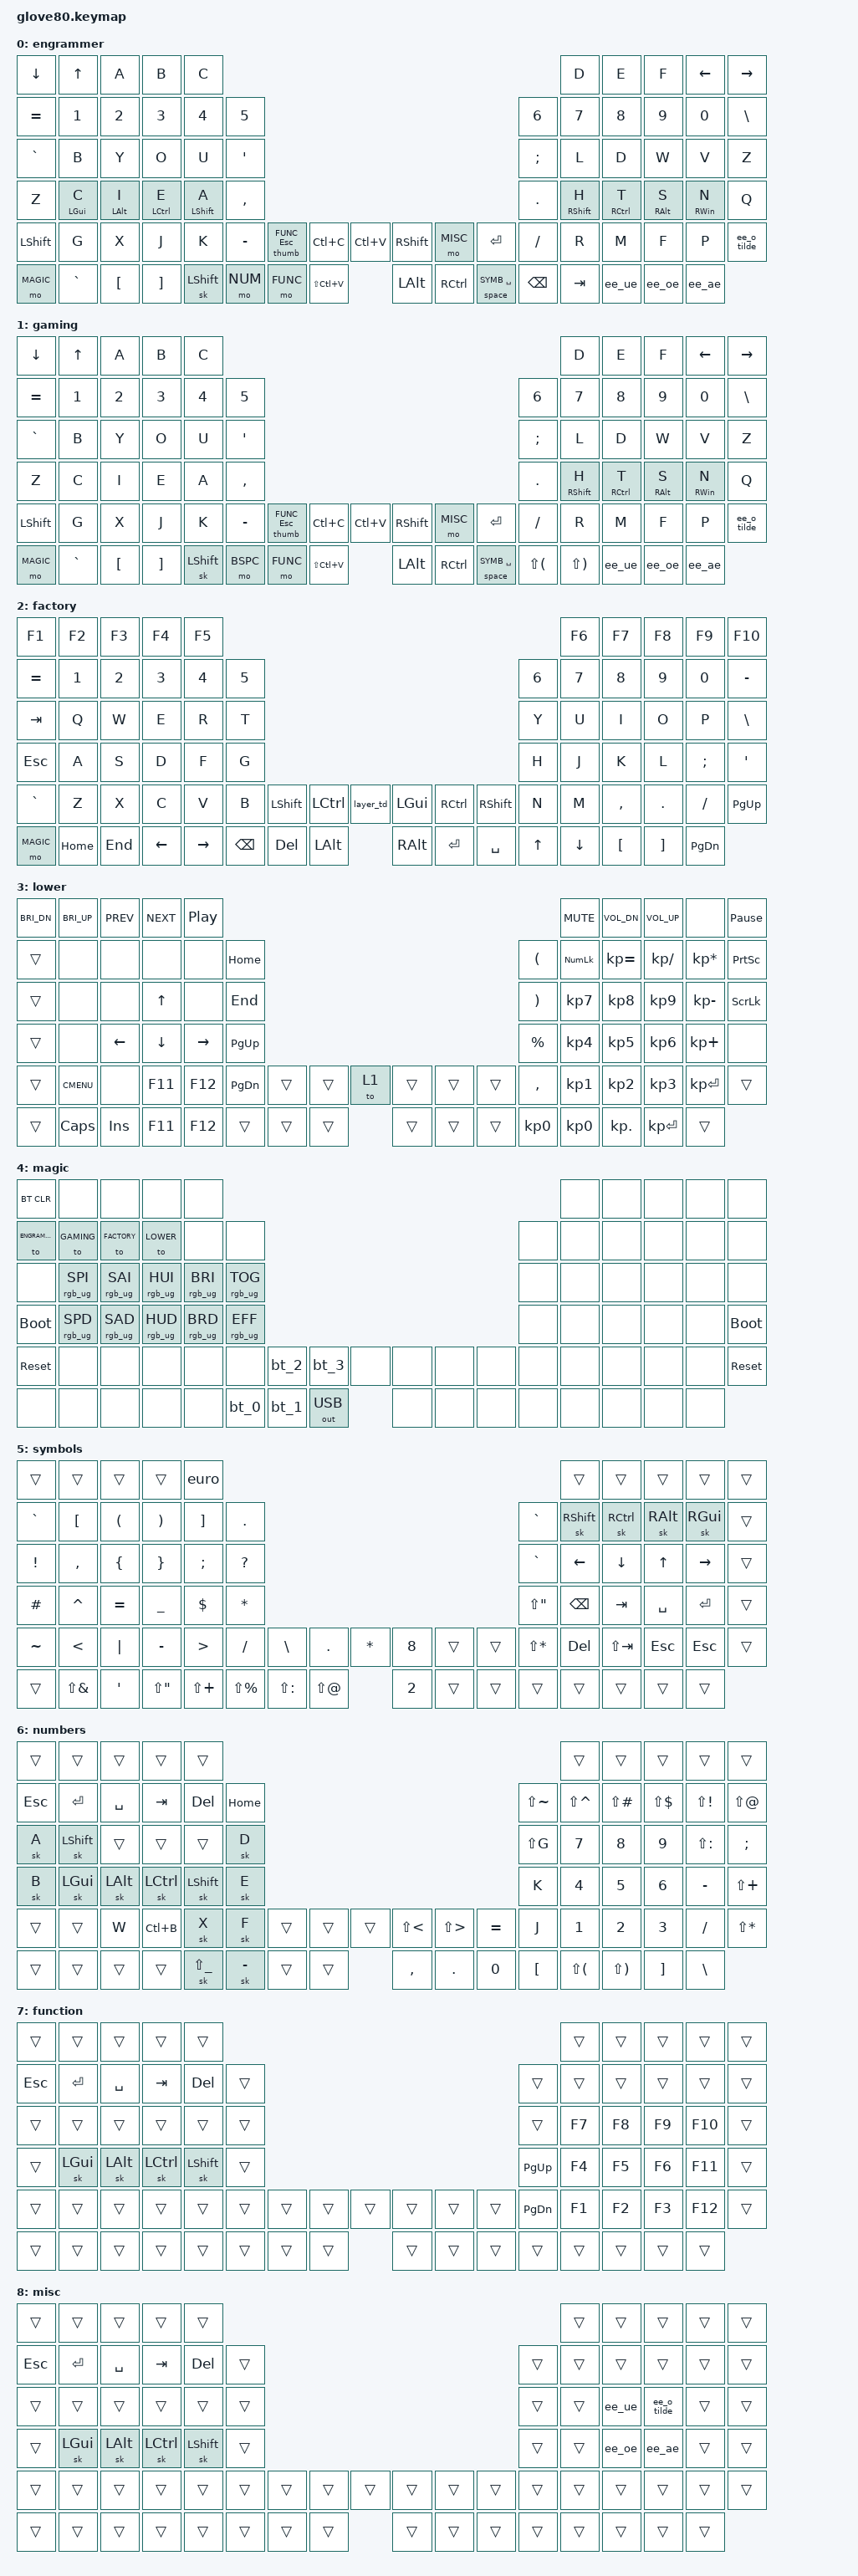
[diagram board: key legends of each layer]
/*
 * Copyright (c) 2020 The ZMK Contributors
 *
 * SPDX-License-Identifier: MIT
 */

#include <behaviors.dtsi>
#include <dt-bindings/zmk/bt.h>
#include <dt-bindings/zmk/keys.h>
#include <dt-bindings/zmk/outputs.h>
#include <dt-bindings/zmk/rgb.h>

#define HOST_OS 1
#include "zmk-helpers/helper.h"

/* Estonian letters */
ZMK_UNICODE_PAIR(   ee_ae,      N0, N0,  E, N4,    N0, N0,  C, N4) // ä/Ä
ZMK_UNICODE_PAIR(   ee_oe,      N0, N0,  F, N6,    N0, N0,  D, N6) // ö/Ö
ZMK_UNICODE_PAIR(   ee_ue,      N0, N0,  F,  C,    N0, N0,  D,  C) // ü/Ü
ZMK_UNICODE_PAIR(   ee_o_tilde, N0, N0,  F,  N5,   N0, N0,  D, N5) // õ/Õ
ZMK_UNICODE_SINGLE(euro, N2, N0, A, C)  // €  U+20AC

#define ___ &trans
#define XXX &none

// layers
#define ENGRAMMER 0
#define GAMING 1
#define FACTORY 2
#define LOWER 3
#define MAGIC 4
#define SYMB 5
#define NUM 6
#define FUNC 7
#define MISC 8


// For the "layer" key, it'd nice to be able to use it as either a shift or a toggle.
// Configure it as a tap dance, so the first tap (or hold) is a &mo and the second tap is a &to
// 
#define TAPPING_RESOLUTION 200 

//
// SPACE_HOLDING_TIME defines how long you need to hold (milliseconds)
// the space thumb key to activate.  Shorter holds are treated as taps.
//
//
#define SPACE_HOLDING_TIME (TAPPING_RESOLUTION + 20)

//
// SPACE_REPEAT_DECAY defines how much time you have left (milliseconds)
// after tapping a key to hold it again in order to make it auto-repeat.
//
#define SPACE_REPEAT_DECAY TAPPING_RESOLUTION

//
// THUMB_HOLDING_TIME defines how long you need to hold (milliseconds)
// a thumb key to activate a layer.  Shorter holds are treated as taps.
//
#define THUMB_HOLDING_TIME (TAPPING_RESOLUTION + 50)

//
// THUMB_REPEAT_DECAY defines how much time you have left (milliseconds)
// after tapping a key to hold it again in order to make it auto-repeat.
//
#define THUMB_REPEAT_DECAY (TAPPING_RESOLUTION + 150)

ZMK_HOLD_TAP(hml,
    hold-trigger-key-positions = <16 6 18 6 7 18 19 30 31 42 43 60 61 5 16 17 28 29 40 41 55 56 57 58 59 72 73 74 75 8 9 18 19 20 21 30 31 32 33 42 43 44 45 60 61 62 63 76 77 78 79 52 53 54 70 71 69>;
    bindings = <&kp>, <&kp>;
    tapping-term-ms = <280>;
    quick-tap-ms = <175>;
    require-prior-idle-ms = <150>;
    flavor = "balanced";
    hold-trigger-on-release;
    retro-tap;
  )

ZMK_HOLD_TAP(hmr,
    hold-trigger-key-positions = <0 1 2 3 4 12 13 14 15 0 1 2 3 4 10 11 12 13 14 15 22 23 24 25 26 27 34 35 36 37 38 39 46 47 48 49 50 51 52 53 54 64 65 66 67 68 69 70 71 55 56 57 72 73 74>;
    bindings = <&kp>, <&kp>;
    tapping-term-ms = <280>;
    quick-tap-ms = <175>;
    require-prior-idle-ms = <150>;
    flavor = "balanced";
    hold-trigger-on-release;
    retro-tap;
  )

  ZMK_TAP_DANCE(layer_td,
    tapping-term-ms = <200>;
    bindings = <&mo 2>, <&to 2>;
  )

  ZMK_HOLD_TAP(thumb,
    flavor = "balanced";
    tapping-term-ms = <THUMB_HOLDING_TIME>;
    require-prior-idle-ms = <150>;
    bindings = <&mo>, <&kp>;
    retro-tap;
  )

  ZMK_HOLD_TAP(space,
    flavor = "hold-preferred";
    tapping-term-ms = <THUMB_HOLDING_TIME>;
    bindings = <&mo>, <&kp>;
  )
  ZMK_MACRO(bt_0,
      bindings = <&out OUT_BLE &bt BT_SEL 0>;
  )

  ZMK_MACRO(bt_1,
      bindings = <&out OUT_BLE &bt BT_SEL 1>;
  )

  ZMK_MACRO(bt_2,
      bindings = <&out OUT_BLE &bt BT_SEL 2>;
  )

  ZMK_MACRO(bt_3,
      bindings = <&out OUT_BLE &bt BT_SEL 3>;
  )


ZMK_LAYER(engrammer,
// ╭─────────────┬─────────────┬─────────────┬─────────────┬─────────────┬─────────────╮                                                                                             ╭─────────────┬─────────────┬─────────────┬─────────────┬─────────────┬─────────────╮
     &kp DOWN_ARROW &kp UP_ARROW &kp A           &kp B         &kp C                                                                                                                                   &kp D         &kp E         &kp F      &kp LEFT_ARROW &kp RIGHT_ARROW
// ├─────────────┼─────────────┼─────────────┼─────────────┼─────────────┼─────────────┤                                                                                             ├─────────────┼─────────────┼─────────────┼─────────────┼─────────────┼─────────────┤
     &kp EQUAL       &kp N1        &kp N2        &kp N3        &kp N4        &kp N5                                                                                                      &kp N6        &kp N7        &kp N8        &kp N9        &kp N0        &kp BSLH
// ├─────────────┼─────────────┼─────────────┼─────────────┼─────────────┼─────────────┤                                                                                             ├─────────────┼─────────────┼─────────────┼─────────────┼─────────────┼─────────────┤
     &kp GRAVE       &kp B         &kp Y         &kp O         &kp U         &kp SQT                                                                                                     &kp SEMI      &kp L         &kp D         &kp W         &kp V         &kp Z
// ├─────────────┼─────────────┼─────────────┼─────────────┼─────────────┼─────────────┤                                                                                             ├─────────────┼─────────────┼────────────┼─────────────┼─────────────┼─────────────┤
     &kp Z           &hml LGUI C &hml LALT I     &hml LCTRL E &hml LSHFT A &kp COMMA                                                                                                     &kp DOT       &hmr RSHFT H &hmr RCTRL T &hmr RALT S     &hmr RWIN N &kp Q
// ├─────────────┼─────────────┼─────────────┼─────────────┼─────────────┼─────────────┤ ╭─────────────┬──────────────┬──────────────╮ ╭─────────────┬──────────────┬──────────────╮ ├─────────────┼─────────────┼─────────────┼─────────────┼─────────────┼─────────────┤
     &kp LSHFT       &kp G         &kp X         &kp J         &kp K         &kp MINUS    &thumb FUNC ESC &kp LC(C)       &kp LC(V)      &kp RSHIFT     &mo MISC       &kp ENTER        &kp FSLH      &kp R         &kp M         &kp F         &kp P         &ee_o_tilde
// ├─────────────┼─────────────┼─────────────┼─────────────┼─────────────┼─────────────┤ ├─────────────┼──────────────┼──────────────┤ ├─────────────┼──────────────┼──────────────┤ ├─────────────┼─────────────┼─────────────┼─────────────┼─────────────┼─────────────┤
     &mo MAGIC       &kp GRAVE     &kp LBKT      &kp RBKT      &sk LSHFT                  &mo NUM         &mo FUNC        &kp LS(LC(V))  &kp LALT       &kp RCTRL    &space SYMB SPACE   &kp BSPC      &kp TAB       &ee_ue        &ee_oe       &ee_ae
// ╰─────────────┴─────────────┴─────────────┴─────────────┴─────────────┴─────────────╯ ╰─────────────┴──────────────┴──────────────╯ ╰─────────────┴──────────────┴──────────────╯ ╰─────────────┴─────────────┴─────────────┴─────────────┴─────────────┴─────────────╯
)

ZMK_LAYER(gaming,
// ╭─────────────┬─────────────┬─────────────┬─────────────┬─────────────┬─────────────╮                                                                                             ╭─────────────┬─────────────┬─────────────┬─────────────┬─────────────┬─────────────╮
     &kp DOWN_ARROW &kp UP_ARROW &kp A           &kp B         &kp C                                                                                                                                   &kp D         &kp E         &kp F      &kp LEFT_ARROW &kp RIGHT_ARROW
// ├─────────────┼─────────────┼─────────────┼─────────────┼─────────────┼─────────────┤                                                                                             ├─────────────┼─────────────┼─────────────┼─────────────┼─────────────┼─────────────┤
     &kp EQUAL       &kp N1        &kp N2        &kp N3        &kp N4        &kp N5                                                                                                      &kp N6        &kp N7        &kp N8        &kp N9        &kp N0        &kp BSLH
// ├─────────────┼─────────────┼─────────────┼─────────────┼─────────────┼─────────────┤                                                                                             ├─────────────┼─────────────┼─────────────┼─────────────┼─────────────┼─────────────┤
     &kp GRAVE       &kp B         &kp Y         &kp O         &kp U         &kp SQT                                                                                                     &kp SEMI      &kp L         &kp D         &kp W         &kp V         &kp Z
// ├─────────────┼─────────────┼─────────────┼─────────────┼─────────────┼─────────────┤                                                                                             ├─────────────┼─────────────┼────────────┼─────────────┼─────────────┼─────────────┤
     &kp Z           &kp C         &kp I         &kp E         &kp A         &kp COMMA                                                                                                   &kp DOT       &hmr RSHFT H &hmr RCTRL T &hmr RALT S     &hmr RWIN N &kp Q
// ├─────────────┼─────────────┼─────────────┼─────────────┼─────────────┼─────────────┤ ╭─────────────┬──────────────┬──────────────╮ ╭─────────────┬──────────────┬──────────────╮ ├─────────────┼─────────────┼─────────────┼─────────────┼─────────────┼─────────────┤
     &kp LSHFT       &kp G         &kp X         &kp J         &kp K         &kp MINUS    &thumb FUNC ESC &kp LC(C)       &kp LC(V)      &kp RSHIFT     &mo MISC       &kp ENTER        &kp FSLH      &kp R         &kp M         &kp F         &kp P         &ee_o_tilde
// ├─────────────┼─────────────┼─────────────┼─────────────┼─────────────┼─────────────┤ ├─────────────┼──────────────┼──────────────┤ ├─────────────┼──────────────┼──────────────┤ ├─────────────┼─────────────┼─────────────┼─────────────┼─────────────┼─────────────┤
     &mo MAGIC       &kp GRAVE     &kp LBKT      &kp RBKT      &sk LSHFT                  &mo BSPC        &mo FUNC      &kp LS(LC(V))    &kp LALT       &kp RCTRL      &space SYMB SPACE              &kp LS(LPAR) &kp LS(RPAR) &ee_ue          &ee_oe        &ee_ae
// ╰─────────────┴─────────────┴─────────────┴─────────────┴─────────────┴─────────────╯ ╰─────────────┴──────────────┴──────────────╯ ╰─────────────┴──────────────┴──────────────╯ ╰─────────────┴─────────────┴─────────────┴─────────────┴─────────────┴─────────────╯
)

// -------------------------------------------------------------------------------------------------------------------------------
// |  F1   |  F2 |  F3 |  F4  |  F5  |                                                               |  F6   |  F7   |  F8  |   F9  |  F10 |
// |  =    |  1  |  2  |  3   |  4   |  5   |                                                 |  6   |   7   |   8   |  9   |   0   |   -  |
// |  TAB  |  Q  |  W  |  E   |  R   |  T   |                                                 |  Y   |   U   |   I   |  O   |   P   |   \  |
// |  ESC  |  A  |  S  |  D   |  F   |  G   |                                                 |  H   |   J   |   K   |  L   |   ;   |   '  |
// |   `   |  Z  |  X  |  C   |  V   |  B   | LSHFT | LCTRL | LOWER | | LGUI  | RCTRL | RSHFT |  N   |   M   |   ,   |  .   |   /   | PGUP |
// | MAGIC | HOME| END | LEFT | RIGHT|      | BSPC  | DEL   | LALT  | | RALT  | RET   | SPACE |      |  UP   | DOWN  |  [   |   ]   | PGDN |
ZMK_LAYER(factory,
// ╭─────────────┬─────────────┬─────────────┬─────────────┬─────────────┬─────────────╮                                                                                             ╭─────────────┬─────────────┬─────────────┬─────────────┬─────────────┬─────────────╮
     &kp F1          &kp F2        &kp F3        &kp F4        &kp F5                                                                                                                                  &kp F6        &kp F7        &kp F8        &kp F9        &kp F10
// ├─────────────┼─────────────┼─────────────┼─────────────┼─────────────┼─────────────┤                                                                                             ├─────────────┼─────────────┼─────────────┼─────────────┼─────────────┼─────────────┤
     &kp EQUAL       &kp N1        &kp N2        &kp N3        &kp N4        &kp N5                                                                                                      &kp N6        &kp N7        &kp N8        &kp N9        &kp N0        &kp MINUS
// ├─────────────┼─────────────┼─────────────┼─────────────┼─────────────┼─────────────┤                                                                                             ├─────────────┼─────────────┼─────────────┼─────────────┼─────────────┼─────────────┤
     &kp TAB         &kp Q         &kp W         &kp E         &kp R         &kp T                                                                                                       &kp Y         &kp U         &kp I         &kp O         &kp P         &kp BSLH
// ├─────────────┼─────────────┼─────────────┼─────────────┼─────────────┼─────────────┤                                                                                             ├─────────────┼─────────────┼─────────────┼─────────────┼─────────────┼─────────────┤
     &kp ESC         &kp A         &kp S         &kp D         &kp F         &kp G                                                                                                       &kp H         &kp J         &kp K         &kp L         &kp SEMI      &kp SQT
// ├─────────────┼─────────────┼─────────────┼─────────────┼─────────────┼─────────────┤ ╭─────────────┬──────────────┬──────────────╮ ╭─────────────┬──────────────┬──────────────╮ ├─────────────┼─────────────┼─────────────┼─────────────┼─────────────┼─────────────┤
     &kp GRAVE       &kp Z         &kp X         &kp C         &kp V         &kp B           &kp LSHFT     &kp LCTRL      &layer_td        &kp LGUI      &kp RCTRL      &kp RSHFT        &kp N         &kp M         &kp COMMA     &kp DOT       &kp FSLH      &kp PG_UP
// ├─────────────┼─────────────┼─────────────┼─────────────┼─────────────┼─────────────┤ ├─────────────┼──────────────┼──────────────┤ ├─────────────┼──────────────┼──────────────┤ ├─────────────┼─────────────┼─────────────┼─────────────┼─────────────┼─────────────┤
     &mo MAGIC       &kp HOME      &kp END       &kp LEFT      &kp RIGHT                     &kp BSPC      &kp DEL        &kp LALT         &kp RALT      &kp RET        &kp SPACE                      &kp UP        &kp DOWN      &kp LBKT      &kp RBKT      &kp PG_DN
// ╰─────────────┴─────────────┴─────────────┴─────────────┴─────────────┴─────────────╯ ╰─────────────┴──────────────┴──────────────╯ ╰─────────────┴──────────────┴──────────────╯ ╰─────────────┴─────────────┴─────────────┴─────────────┴─────────────┴─────────────╯
)

ZMK_LAYER(lower,
// ╭─────────────┬─────────────┬─────────────┬─────────────┬─────────────┬─────────────╮                                                                                             ╭─────────────┬─────────────┬─────────────┬─────────────┬─────────────┬─────────────╮
     &kp C_BRI_DN    &kp C_BRI_UP &kp C_PREV     &kp C_NEXT    &kp C_PP                                                                                                                                &kp C_MUTE    &kp C_VOL_DN &kp C_VOL_UP &none        &kp PAUSE_BREAK
// ├─────────────┼─────────────┼─────────────┼─────────────┼─────────────┼─────────────┤                                                                                             ├─────────────┼─────────────┼─────────────┼─────────────┼─────────────┼─────────────┤
     &trans          &none         &none         &none         &none         &kp HOME                                                                                                    &kp LPAR      &kp KP_NUM    &kp KP_EQUAL &kp KP_DIVIDE &kp KP_MULTIPLY &kp PSCRN
// ├─────────────┼─────────────┼─────────────┼─────────────┼─────────────┼─────────────┤                                                                                             ├─────────────┼─────────────┼─────────────┼─────────────┼─────────────┼─────────────┤
     &trans          &none         &none         &kp UP        &none         &kp END                                                                                                     &kp RPAR      &kp KP_N7     &kp KP_N8     &kp KP_N9     &kp KP_MINUS &kp SLCK
// ├─────────────┼─────────────┼─────────────┼─────────────┼─────────────┼─────────────┤                                                                                             ├─────────────┼─────────────┼─────────────┼─────────────┼─────────────┼─────────────┤
     &trans          &none         &kp LEFT      &kp DOWN      &kp RIGHT     &kp PG_UP                                                                                                   &kp PRCNT     &kp KP_N4     &kp KP_N5     &kp KP_N6     &kp KP_PLUS &none
// ├─────────────┼─────────────┼─────────────┼─────────────┼─────────────┼─────────────┤ ╭─────────────┬──────────────┬──────────────╮ ╭─────────────┬──────────────┬──────────────╮ ├─────────────┼─────────────┼─────────────┼─────────────┼─────────────┼─────────────┤
     &trans          &kp K_CMENU &none           &kp F11       &kp F12       &kp PG_DN       &trans        &trans         &to 1            &trans        &trans         &trans           &kp COMMA     &kp KP_N1     &kp KP_N2     &kp KP_N3     &kp KP_ENTER &trans
// ├─────────────┼─────────────┼─────────────┼─────────────┼─────────────┼─────────────┤ ├─────────────┼──────────────┼──────────────┤ ├─────────────┼──────────────┼──────────────┤ ├─────────────┼─────────────┼─────────────┼─────────────┼─────────────┼─────────────┤
     &trans          &kp CAPS      &kp INS       &kp F11       &kp F12                       &trans        &trans         &trans           &trans        &trans         &trans                         &kp KP_N0     &kp KP_N0     &kp KP_DOT    &kp KP_ENTER &trans
// ╰─────────────┴─────────────┴─────────────┴─────────────┴─────────────┴─────────────╯ ╰─────────────┴──────────────┴──────────────╯ ╰─────────────┴──────────────┴──────────────╯ ╰─────────────┴─────────────┴─────────────┴─────────────┴─────────────┴─────────────╯
)

ZMK_LAYER(magic,
// ╭─────────────┬─────────────┬─────────────┬─────────────┬─────────────┬─────────────╮                                                                                             ╭─────────────┬─────────────┬─────────────┬─────────────┬─────────────┬─────────────╮
     &bt BT_CLR      &none         &none         &none         &none                                                                                                                                   &none         &none         &none         &none         &none
// ├─────────────┼─────────────┼─────────────┼─────────────┼─────────────┼─────────────┤                                                                                             ├─────────────┼─────────────┼─────────────┼─────────────┼─────────────┼─────────────┤
     &to ENGRAMMER   &to GAMING    &to FACTORY   &to LOWER     &none         &none                                                                                                       &none         &none         &none         &none         &none         &none
// ├─────────────┼─────────────┼─────────────┼─────────────┼─────────────┼─────────────┤                                                                                             ├─────────────┼─────────────┼─────────────┼─────────────┼─────────────┼─────────────┤
     &none        &rgb_ug RGB_SPI &rgb_ug RGB_SAI &rgb_ug RGB_HUI &rgb_ug RGB_BRI &rgb_ug RGB_TOG                                                                                        &none         &none         &none         &none         &none         &none
// ├─────────────┼─────────────┼─────────────┼─────────────┼─────────────┼─────────────┤                                                                                             ├─────────────┼─────────────┼─────────────┼─────────────┼─────────────┼─────────────┤
     &bootloader  &rgb_ug RGB_SPD &rgb_ug RGB_SAD &rgb_ug RGB_HUD &rgb_ug RGB_BRD &rgb_ug RGB_EFF                                                                                        &none         &none         &none         &none         &none         &bootloader
// ├─────────────┼─────────────┼─────────────┼─────────────┼─────────────┼─────────────┤ ╭─────────────┬──────────────┬──────────────╮ ╭─────────────┬──────────────┬──────────────╮ ├─────────────┼─────────────┼─────────────┼─────────────┼─────────────┼─────────────┤
     &sys_reset      &none         &none         &none         &none         &none           &bt_2         &bt_3          &none            &none         &none          &none            &none         &none         &none         &none         &none         &sys_reset
// ├─────────────┼─────────────┼─────────────┼─────────────┼─────────────┼─────────────┤ ├─────────────┼──────────────┼──────────────┤ ├─────────────┼──────────────┼──────────────┤ ├─────────────┼─────────────┼─────────────┼─────────────┼─────────────┼─────────────┤
     &none           &none         &none         &none         &none                         &bt_0         &bt_1          &out OUT_USB     &none         &none          &none                          &none         &none         &none         &none         &none
// ╰─────────────┴─────────────┴─────────────┴─────────────┴─────────────┴─────────────╯ ╰─────────────┴──────────────┴──────────────╯ ╰─────────────┴──────────────┴──────────────╯ ╰─────────────┴─────────────┴─────────────┴─────────────┴─────────────┴─────────────╯
)

ZMK_LAYER(symbols,
// ╭─────────────┬─────────────┬─────────────┬─────────────┬─────────────┬─────────────╮                                                                                             ╭─────────────┬─────────────┬─────────────┬─────────────┬─────────────┬─────────────╮
     &trans          &trans        &trans        &trans        &euro                                                                                                                                   &trans        &trans        &trans        &trans        &trans
// ├─────────────┼─────────────┼─────────────┼─────────────┼─────────────┼─────────────┤                                                                                             ├─────────────┼─────────────┼─────────────┼─────────────┼─────────────┼─────────────┤
     &kp GRAVE       &kp LBKT      &kp LPAR      &kp RPAR      &kp RBKT      &kp DOT                                                                                                     &kp GRAVE     &sk RSHFT     &sk RCTRL     &sk RALT      &sk RGUI      &trans
// ├─────────────┼─────────────┼─────────────┼─────────────┼─────────────┼─────────────┤                                                                                             ├─────────────┼─────────────┼─────────────┼─────────────┼─────────────┼─────────────┤
     &kp EXCL        &kp COMMA     &kp LBRC      &kp RBRC      &kp SEMI      &kp QMARK                                                                                                   &kp GRAVE     &kp LEFT      &kp DOWN      &kp UP        &kp RIGHT     &trans
// ├─────────────┼─────────────┼─────────────┼─────────────┼─────────────┼─────────────┤                                                                                             ├─────────────┼─────────────┼─────────────┼─────────────┼─────────────┼─────────────┤
     &kp HASH        &kp CARET     &kp EQUAL     &kp UNDER     &kp DLLR      &kp STAR                                                                                                    &kp LS(DQT) &kp BSPC        &kp TAB       &kp SPACE     &kp RET       &trans
// ├─────────────┼─────────────┼─────────────┼─────────────┼─────────────┼─────────────┤ ╭─────────────┬──────────────┬──────────────╮ ╭─────────────┬──────────────┬──────────────╮ ├─────────────┼─────────────┼─────────────┼─────────────┼─────────────┼─────────────┤
     &kp TILDE       &kp LT        &kp PIPE      &kp MINUS     &kp GT        &kp FSLH        &kp BSLH      &kp DOT        &kp STAR         &kp N8        &trans         &trans           &kp LS(STAR) &kp DEL        &kp LS(TAB) &kp ESC         &kp ESC       &trans
// ├─────────────┼─────────────┼─────────────┼─────────────┼─────────────┼─────────────┤ ├─────────────┼──────────────┼──────────────┤ ├─────────────┼──────────────┼──────────────┤ ├─────────────┼─────────────┼─────────────┼─────────────┼─────────────┼─────────────┤
     &trans          &kp LS(AMPS) &kp SQT        &kp LS(DQT) &kp LS(PLUS)                    &kp LS(PRCNT) &kp LS(COLON) &kp LS(AT)        &kp N2        &trans         &trans                         &trans        &trans        &trans        &trans        &trans
// ╰─────────────┴─────────────┴─────────────┴─────────────┴─────────────┴─────────────╯ ╰─────────────┴──────────────┴──────────────╯ ╰─────────────┴──────────────┴──────────────╯ ╰─────────────┴─────────────┴─────────────┴─────────────┴─────────────┴─────────────╯
)

ZMK_LAYER(numbers,
// ╭─────────────┬─────────────┬─────────────┬─────────────┬─────────────┬─────────────╮                                                                                             ╭─────────────┬─────────────┬─────────────┬─────────────┬─────────────┬─────────────╮
     &trans          &trans        &trans        &trans        &trans                                                                                                                                  &trans        &trans        &trans        &trans        &trans
// ├─────────────┼─────────────┼─────────────┼─────────────┼─────────────┼─────────────┤                                                                                             ├─────────────┼─────────────┼─────────────┼─────────────┼─────────────┼─────────────┤
     &kp ESC         &kp RET       &kp SPACE     &kp TAB       &kp DEL       &kp HOME                                                                                                    &kp LS(TILDE) &kp LS(CARET) &kp LS(POUND) &kp LS(DLLR) &kp LS(EXCL) &kp LS(AT)
// ├─────────────┼─────────────┼─────────────┼─────────────┼─────────────┼─────────────┤                                                                                             ├─────────────┼─────────────┼─────────────┼─────────────┼─────────────┼─────────────┤
     &sk A           &sk LSHFT     &trans        &trans        &trans        &sk D                                                                                                       &kp LS(G)     &kp N7        &kp N8        &kp N9        &kp LS(COLON) &kp SEMI
// ├─────────────┼─────────────┼─────────────┼─────────────┼─────────────┼─────────────┤                                                                                             ├─────────────┼─────────────┼─────────────┼─────────────┼─────────────┼─────────────┤
     &sk B           &sk LGUI      &sk LALT      &sk LCTRL     &sk LSHFT     &sk E                                                                                                       &kp K         &kp N4        &kp N5        &kp N6        &kp MINUS     &kp LS(PLUS)
// ├─────────────┼─────────────┼─────────────┼─────────────┼─────────────┼─────────────┤ ╭─────────────┬──────────────┬──────────────╮ ╭─────────────┬──────────────┬──────────────╮ ├─────────────┼─────────────┼─────────────┼─────────────┼─────────────┼─────────────┤
     &trans          &trans        &kp W         &kp LC(B)     &sk X         &sk F           &trans        &trans         &trans           &kp LS(LT)    &kp LS(GT)     &kp EQUAL        &kp J         &kp N1        &kp N2        &kp N3        &kp FSLH      &kp LS(STAR)
// ├─────────────┼─────────────┼─────────────┼─────────────┼─────────────┼─────────────┤ ├─────────────┼──────────────┼──────────────┤ ├─────────────┼──────────────┼──────────────┤ ├─────────────┼─────────────┼─────────────┼─────────────┼─────────────┼─────────────┤
     &trans          &trans        &trans        &trans        &sk LS(UNDER)                 &sk MINUS     &trans         &trans           &kp COMMA     &kp DOT        &kp N0                         &kp LBKT      &kp LS(LPAR) &kp LS(RPAR) &kp RBKT        &kp BSLH
// ╰─────────────┴─────────────┴─────────────┴─────────────┴─────────────┴─────────────╯ ╰─────────────┴──────────────┴──────────────╯ ╰─────────────┴──────────────┴──────────────╯ ╰─────────────┴─────────────┴─────────────┴─────────────┴─────────────┴─────────────╯
)

ZMK_LAYER(function,
// ╭─────────────┬─────────────┬─────────────┬─────────────┬─────────────┬─────────────╮                                                                                             ╭─────────────┬─────────────┬─────────────┬─────────────┬─────────────┬─────────────╮
     &trans          &trans        &trans        &trans        &trans                                                                                                                                  &trans        &trans        &trans        &trans        &trans
// ├─────────────┼─────────────┼─────────────┼─────────────┼─────────────┼─────────────┤                                                                                             ├─────────────┼─────────────┼─────────────┼─────────────┼─────────────┼─────────────┤
     &kp ESC         &kp ENTER     &kp SPACE     &kp TAB       &kp DEL       &trans                                                                                                      &trans        &trans        &trans        &trans        &trans        &trans
// ├─────────────┼─────────────┼─────────────┼─────────────┼─────────────┼─────────────┤                                                                                             ├─────────────┼─────────────┼─────────────┼─────────────┼─────────────┼─────────────┤
     &trans          &trans        &trans        &trans        &trans        &trans                                                                                                      &trans        &kp F7        &kp F8        &kp F9        &kp F10       &trans
// ├─────────────┼─────────────┼─────────────┼─────────────┼─────────────┼─────────────┤                                                                                             ├─────────────┼─────────────┼─────────────┼─────────────┼─────────────┼─────────────┤
     &trans          &sk LGUI      &sk LALT      &sk LCTRL     &sk LSHFT     &trans                                                                                                    &kp PAGE_UP     &kp F4        &kp F5        &kp F6        &kp F11       &trans
// ├─────────────┼─────────────┼─────────────┼─────────────┼─────────────┼─────────────┤ ╭─────────────┬──────────────┬──────────────╮ ╭─────────────┬──────────────┬──────────────╮ ├─────────────┼─────────────┼─────────────┼─────────────┼─────────────┼─────────────┤
     &trans          &trans        &trans        &trans        &trans        &trans          &trans        &trans         &trans           &trans        &trans         &trans        &kp PAGE_DOWN    &kp F1        &kp F2        &kp F3        &kp F12       &trans
// ├─────────────┼─────────────┼─────────────┼─────────────┼─────────────┼─────────────┤ ├─────────────┼──────────────┼──────────────┤ ├─────────────┼──────────────┼──────────────┤ ├─────────────┼─────────────┼─────────────┼─────────────┼─────────────┼─────────────┤
     &trans          &trans        &trans        &trans        &trans                        &trans        &trans         &trans           &trans        &trans         &trans                         &trans        &trans        &trans        &trans        &trans
// ╰─────────────┴─────────────┴─────────────┴─────────────┴─────────────┴─────────────╯ ╰─────────────┴──────────────┴──────────────╯ ╰─────────────┴──────────────┴──────────────╯ ╰─────────────┴─────────────┴─────────────┴─────────────┴─────────────┴─────────────╯
)

ZMK_LAYER(misc,
// ╭─────────────┬─────────────┬─────────────┬─────────────┬─────────────┬─────────────╮                                                                                             ╭─────────────┬─────────────┬─────────────┬─────────────┬─────────────┬─────────────╮
     &trans          &trans        &trans        &trans        &trans                                                                                                                                  &trans        &trans        &trans        &trans        &trans
// ├─────────────┼─────────────┼─────────────┼─────────────┼─────────────┼─────────────┤                                                                                             ├─────────────┼─────────────┼─────────────┼─────────────┼─────────────┼─────────────┤
     &kp ESC         &kp ENTER     &kp SPACE     &kp TAB       &kp DEL       &trans                                                                                                      &trans        &trans        &trans        &trans        &trans        &trans
// ├─────────────┼─────────────┼─────────────┼─────────────┼─────────────┼─────────────┤                                                                                             ├─────────────┼─────────────┼─────────────┼─────────────┼─────────────┼─────────────┤
     &trans          &trans        &trans        &trans        &trans        &trans                                                                                                      &trans        &trans        &ee_ue        &ee_o_tilde   &trans        &trans
// ├─────────────┼─────────────┼─────────────┼─────────────┼─────────────┼─────────────┤                                                                                             ├─────────────┼─────────────┼─────────────┼─────────────┼─────────────┼─────────────┤
     &trans          &sk LGUI      &sk LALT      &sk LCTRL     &sk LSHFT     &trans                                                                                                      &trans        &trans        &ee_oe        &ee_ae        &trans        &trans
// ├─────────────┼─────────────┼─────────────┼─────────────┼─────────────┼─────────────┤ ╭─────────────┬──────────────┬──────────────╮ ╭─────────────┬──────────────┬──────────────╮ ├─────────────┼─────────────┼─────────────┼─────────────┼─────────────┼─────────────┤
     &trans          &trans        &trans        &trans        &trans        &trans          &trans        &trans         &trans           &trans        &trans         &trans           &trans        &trans        &trans        &trans        &trans        &trans
// ├─────────────┼─────────────┼─────────────┼─────────────┼─────────────┼─────────────┤ ├─────────────┼──────────────┼──────────────┤ ├─────────────┼──────────────┼──────────────┤ ├─────────────┼─────────────┼─────────────┼─────────────┼─────────────┼─────────────┤
     &trans          &trans        &trans        &trans        &trans                        &trans        &trans         &trans           &trans        &trans         &trans                         &trans        &trans        &trans        &trans        &trans
// ╰─────────────┴─────────────┴─────────────┴─────────────┴─────────────┴─────────────╯ ╰─────────────┴──────────────┴──────────────╯ ╰─────────────┴──────────────┴──────────────╯ ╰─────────────┴─────────────┴─────────────┴─────────────┴─────────────┴─────────────╯
)

